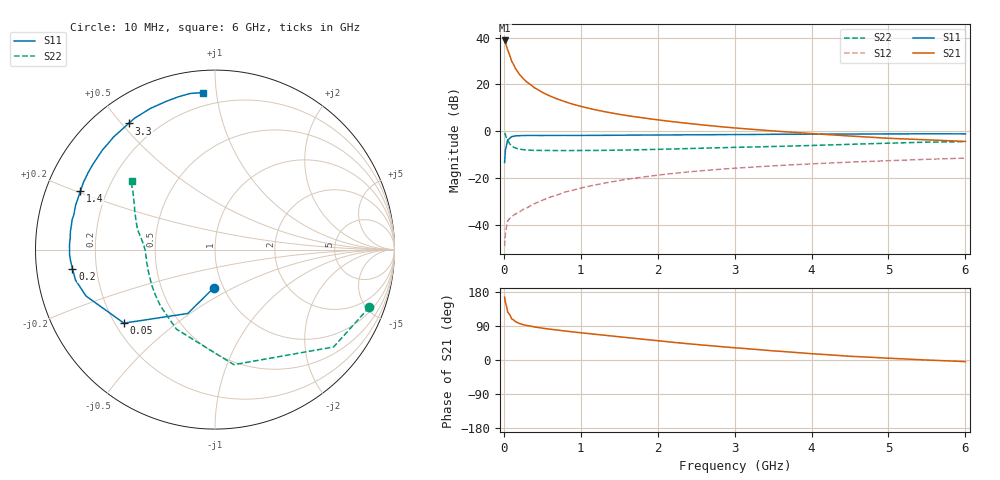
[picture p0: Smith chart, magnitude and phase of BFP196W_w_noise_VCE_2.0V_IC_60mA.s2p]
! Infineon Technologies  Discrete & RF Semiconductors
! BFP196W
! VCE =  2.0 V,  IC =  60 mA
! Common Emitter S-Parameters:  Jan 2017
# GHz  S  MA  R  50
!  f  S11  S21  S12  S22
! GHz  MAG  ANG  MAG  ANG  MAG  ANG  MAG  ANG
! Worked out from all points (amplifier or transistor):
!   77 points, 10 MHz to 6 GHz, reference 50 ohm
!   highest |S21| = 38.8 dB at 10 MHz (marker M1)
!   |S21| within 3 dB of that: start of sweep to 39.56 MHz
!   unconditionally stable (mu >= 1): 568.6 MHz to 3.378 GHz
!   at 130 MHz: K = 0.52, MSG = 32.0 dB, |S12| = -35.8 dB
!   at 2.2 GHz: K = 1.04, MAG = 9.9 dB, |S12| = -18.1 dB
!   at 6 GHz: K = 0.97, MSG = 3.6 dB, |S12| = -11.5 dB
!   lowest NFmin = 1.47 dB at 450 MHz
!   S11 on the Smith chart (normalised r, x): 10 MHz: 0.90, -0.40; 50 MHz: 0.24, -0.34; 200 MHz: 0.11, -0.07; 1.4 GHz: 0.10, +0.20; 3.3 GHz: 0.10, +0.52; 6 GHz: 0.12, +0.92
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0.01  0.2145 -92.2  86.73 165.9  0.0035 75.1  0.9177 -20.5
0.02  0.3869 -113.1  79.36 152.2  0.0064 67.4  0.8549 -39.4
0.05  0.6524 -141.1  54.21 126.4  0.0122 44.8  0.6495 -80.7
0.1  0.7638 -160.2  31.76 108.9  0.0149 42.8  0.4924 -115.9
0.15  0.7956 -167.7  21.95 101.4  0.017 44.0  0.4373 -134.0
0.2  0.8012 -172.3  16.63 96.6  0.0187 48.3  0.4151 -144.1
0.25  0.807 -175.5  13.37 93.3  0.0213 50.3  0.4037 -151.2
0.3  0.8107 -178.0  11.18 91.0  0.0231 52.8  0.3962 -156.0
0.4  0.811 178.3  8.43 87.1  0.0283 58.1  0.3904 -162.3
0.5  0.8095 175.3  6.748 84.0  0.0334 59.9  0.3873 -166.4
0.6  0.8117 172.8  5.644 81.3  0.039 61.3  0.3875 -169.4
0.7  0.8114 170.7  4.834 79.0  0.0438 63.2  0.3856 -171.6
0.9  0.8102 166.2  3.757 74.1  0.055 64.7  0.3867 -174.9
1.1  0.8152 162.2  3.097 69.8  0.0664 64.3  0.3883 -177.6
1.4  0.8173 156.6  2.455 63.4  0.0828 63.3  0.3921 179.0
1.7  0.8242 150.9  2.039 57.1  0.099 61.4  0.3991 175.8
2.1  0.8306 143.5  1.669 48.9  0.12 57.4  0.4132 172.0
3.1  0.8471 127.3  1.139 30.8  0.1657 47.7  0.4551 163.0
3.3  0.8516 124.4  1.074 27.6  0.1738 45.9  0.4629 161.1
4.1  0.8651 113.3  0.868 15.4  0.2041 38.6  0.5009 153.4
5.1  0.8761 102.6  0.695 3.8  0.2376 30.4  0.5599 144.8
6  0.8775 94.3  0.604 -4.3  0.2663 23.3  0.5966 140.4
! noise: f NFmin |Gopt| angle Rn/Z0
0.45  1.47  0.52  -176  0.06
0.9  1.59  0.56  -170  0.07
1.9  2.42  0.69  -149  0.17
2.4  2.81  0.73  -144  0.27
